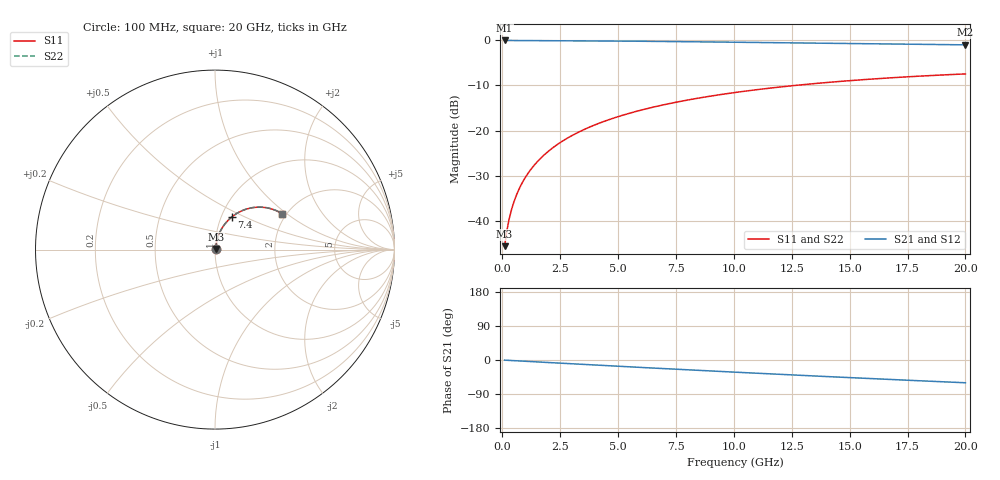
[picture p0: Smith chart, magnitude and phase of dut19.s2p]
! Touchstone file exported from HFSS 2026.1.0
!  File:  C:/ffzhzh/LocalFiles/Ansys_Project_Files/temp_val_BSMRDL_19_1782903366_43084.aedt
!  Generated:  06:57:29 PM Jul  1, 2026
!  Design:  BSMRDL
!  Project:  temp_val_BSMRDL_19_1782903366_43084
! Variables:
!  h_bsmrdl = 4.01um
!  h_ox = 20um
!  h_rdl = 5um
!  h_sub = 80um
!  h_tmrdl = 5um
!  h_tsv = 80um
!  h_via = 3um
!  l_bsmrdl = 979.54um
!  l_sub = 1379.54um
!  l_tmrdl = 200um
!  m_sub = 200um
!  pitch = 43.71um
!  r_tsv = 6um
!  s_tmrdl = 10um
!  w_bsmrdl = 22.56um
!  w_sub = 500um
!  w_tmrdl = 12um
!  x_tsv_center1 = 206um
!  x_tsv_center2 = 1208.1um
!  x_tsv_center3 = 1420.1um
!  x_tsv_center4 = 2422.2um
!  x_tsv_center5 = 2634.2um
!  x_tsv_center6 = 3636.3um
# GHz S MA R 50.000000
! Terminal data exported
! Port[1] = BSM_RDL1_1_T1
! Port[2] = BSM_RDL1_1_T2
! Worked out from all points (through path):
!   200 points, 100 MHz to 20 GHz, reference 50 ohm
!   highest |S21| = -0.04 dB at 100 MHz (marker M1); lowest = -1.0 dB at 20 GHz (marker M2)
!   group delay of S21, straight-line fit = 8.34 ps
!   lowest |S11| = -45.6 dB at 100 MHz (marker M3), VSWR 1.01, Z = 50.4 + j0.335 ohm
!   |S11| at or under -10 dB: start of sweep to 12.65 GHz
!   |S22| runs from -45.6 to -7.4 dB; largest |S21 - S12| = 4.1e-15
!   S11 on the Smith chart (normalised r, x): 100 MHz: 1.01, +0.01; 7.4 GHz: 1.12, +0.42; 20 GHz: 1.90, +0.92
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0.1  0.005239 39.4  0.996 -0.4  0.996 -0.4  0.005239 39.4
! Gamma 0 0 0 0
! Port Impedance 50 0 50 0
0.2  0.007815 55.9  0.9957 -0.7  0.9957 -0.7  0.007815 55.9
0.3  0.01058 63.4  0.9954 -1.0  0.9954 -1.0  0.01058 63.4
0.4  0.01336 67.8  0.9952 -1.4  0.9952 -1.4  0.01336 67.8
0.5  0.01615 70.6  0.995 -1.7  0.995 -1.7  0.01615 70.6
0.6  0.01896 72.6  0.9948 -2.0  0.9948 -2.0  0.01896 72.6
0.8  0.02465 75.2  0.9945 -2.7  0.9945 -2.7  0.02465 75.2
1.1  0.03327 77.0  0.9941 -3.7  0.9941 -3.7  0.03327 77.0
1.3  0.03905 77.6  0.9938 -4.4  0.9938 -4.4  0.03905 77.6
1.6  0.04772 77.8  0.9932 -5.4  0.9932 -5.4  0.04772 77.8
2.1  0.06215 77.4  0.9921 -7.0  0.9921 -7.0  0.06215 77.4
2.7  0.0793 76.3  0.9904 -9.0  0.9904 -9.0  0.0793 76.3
3.5  0.1018 74.3  0.9876 -11.6  0.9876 -11.6  0.1018 74.3
4.2  0.1211 72.3  0.9847 -13.9  0.9847 -13.9  0.1211 72.4
5  0.1426 70.0  0.9811 -16.5  0.9811 -16.5  0.1426 70.1
6.8  0.1888 64.7  0.9717 -22.2  0.9717 -22.2  0.1888 64.7
7.4  0.2035 62.9  0.9682 -24.0  0.9682 -24.0  0.2035 63.0
8.7  0.2341 59.1  0.9604 -28.0  0.9604 -28.0  0.2341 59.1
10.1  0.2651 55.0  0.9516 -32.3  0.9516 -32.3  0.2651 55.1
13.4  0.33 45.6  0.9301 -42.0  0.9301 -42.0  0.33 45.8
16.7  0.383 36.6  0.9092 -51.2  0.9092 -51.2  0.383 36.8
20  0.4242 28.0  0.8908 -60.1  0.8908 -60.1  0.4242 28.2
